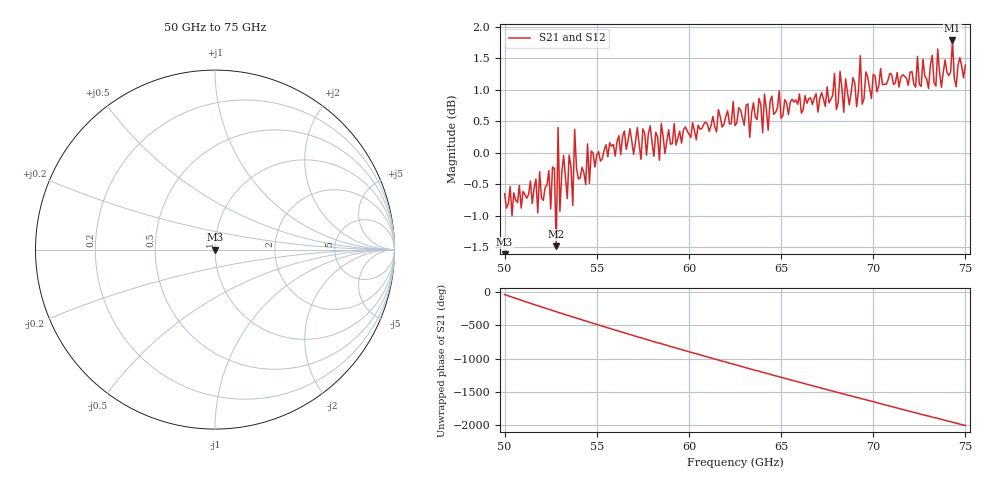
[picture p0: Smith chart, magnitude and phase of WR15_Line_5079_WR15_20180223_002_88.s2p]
# GHZ S RI R 50
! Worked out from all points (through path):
!   251 points, 50 GHz to 75 GHz, reference 50 ohm
!   highest |S21| = 1.79 dB at 74.3 GHz (marker M1); lowest = -1.5 dB at 52.8 GHz (marker M2)
!   lowest |S11| = - dB at 50 GHz (marker M3), VSWR 1.00, Z = 50 + j3.41e-15 ohm
!   |S11| at or under -10 dB: start of sweep to end of sweep
!   |S22| runs from - to - dB; largest |S21 - S12| = 1e-14
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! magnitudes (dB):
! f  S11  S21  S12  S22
! 50 GHz  -  -0.7  -0.7  -
! 51.8 GHz  -  -1.0  -1.0  -
! 52.4 GHz  -  -0.3  -0.3  -
! 52.5 GHz  -  -0.9  -0.9  -
! 52.7 GHz  -  -0.2  -0.2  -
! 52.8 GHz  -  -1.5  -1.5  -
! 52.9 GHz  -  0.4  0.4  -
! 53 GHz  -  -0.9  -0.9  -
! 53.2 GHz  -  0.0  0.0  -
! 53.7 GHz  -  -0.8  -0.8  -
! 53.8 GHz  -  0.4  0.4  -
! 54.2 GHz  -  -0.2  -0.2  -
! 58.4 GHz  -  -0.1  -0.1  -
! 62.5 GHz  -  0.4  0.4  -
! 66.7 GHz  -  0.8  0.8  -
! 70.9 GHz  -  1.3  1.3  -
! 73.4 GHz  -  1.1  1.1  -
! 73.5 GHz  -  1.6  1.6  -
! 73.7 GHz  -  1.0  1.0  -
! 74.3 GHz  -  1.8  1.8  -
! 74.5 GHz  -  1.0  1.0  -
! 75 GHz  -  1.4  1.4  -
